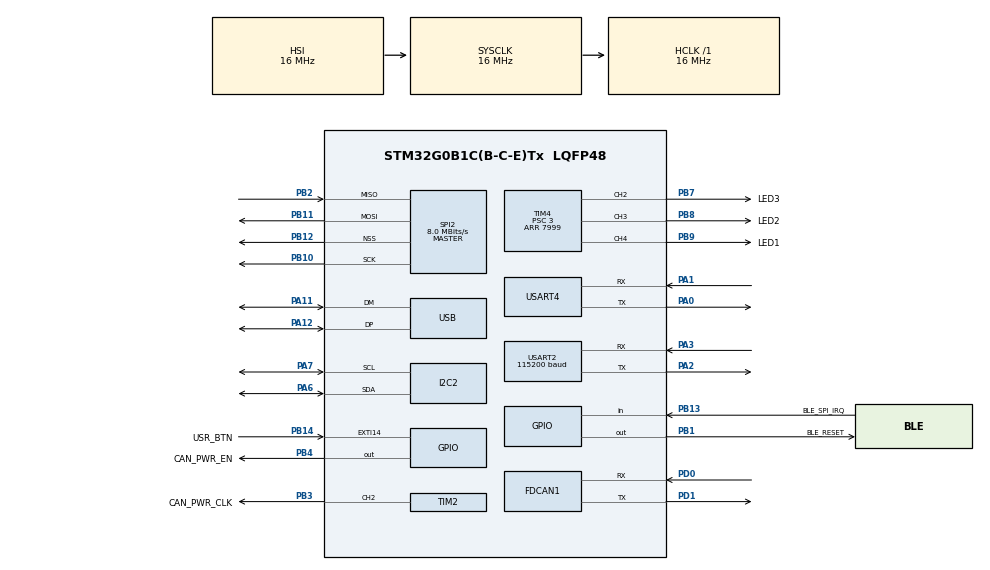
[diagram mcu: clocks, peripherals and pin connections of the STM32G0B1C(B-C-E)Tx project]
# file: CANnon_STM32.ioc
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Dma.Request0=USART2_TX
Dma.USART2_TX.0.Direction=DMA_MEMORY_TO_PERIPH
Dma.USART2_TX.0.EventEnable=DISABLE
Dma.USART2_TX.0.Instance=DMA1_Channel3
Dma.USART2_TX.0.MemDataAlignment=DMA_MDATAALIGN_BYTE
Dma.USART2_TX.0.MemInc=DMA_MINC_ENABLE
Dma.USART2_TX.0.Mode=DMA_NORMAL
Dma.USART2_TX.0.PeriphDataAlignment=DMA_PDATAALIGN_BYTE
Dma.USART2_TX.0.PeriphInc=DMA_PINC_DISABLE
Dma.USART2_TX.0.Polarity=HAL_DMAMUX_REQ_GEN_RISING
Dma.USART2_TX.0.Priority=DMA_PRIORITY_LOW
Dma.USART2_TX.0.RequestNumber=1
Dma.USART2_TX.0.SignalID=NONE
Dma.USART2_TX.0.SyncEnable=DISABLE
Dma.USART2_TX.0.SyncPolarity=HAL_DMAMUX_SYNC_NO_EVENT
Dma.USART2_TX.0.SyncRequestNumber=1
Dma.USART2_TX.0.SyncSignalID=NONE
FDCAN1.CalculateBaudRateNominal=200000
FDCAN1.CalculateTimeBitNominal=5000
FDCAN1.CalculateTimeQuantumNominal=1000.0
IWDG.Prescaler=IWDG_PRESCALER_256
IWDG.Reload=125
Mcu.Family=STM32G0
Mcu.Name=STM32G0B1C(B-C-E)Tx
Mcu.Package=LQFP48
NVIC.DMA1_Channel2_3_IRQn=true\:0\:0\:false\:false\:true\:false\:true\:true
NVIC.USART2_LPUART2_IRQn=true\:0\:0\:false\:false\:true\:true\:true\:true
NVIC.USB_UCPD1_2_IRQn=true\:0\:0\:false\:false\:true\:true\:true\:true
PA0.Mode=Asynchronous
PA0.Signal=USART4_TX
PA1.Mode=Asynchronous
PA1.Signal=USART4_RX
PA11\ [PA9].Mode=Device
PA11\ [PA9].Signal=USB_DM
PA12\ [PA10].Mode=Device
PA12\ [PA10].Signal=USB_DP
PA13.Mode=Serial_Wire
PA13.Signal=SYS_SWDIO
PA14-BOOT0.Mode=Serial_Wire
PA14-BOOT0.Signal=SYS_SWCLK
PA2.Mode=Asynchronous
PA2.Signal=USART2_TX
PA3.Mode=Asynchronous
PA3.Signal=USART2_RX
PA6.Mode=I2C
PA6.Signal=I2C2_SDA
PA7.Mode=I2C
PA7.Signal=I2C2_SCL
PB1.GPIO_Label=BLE_RESET
PB1.Signal=GPIO_Output
PB10.Mode=Full_Duplex_Master
PB10.Signal=SPI2_SCK
PB11.Mode=Full_Duplex_Master
PB11.Signal=SPI2_MOSI
PB12.Mode=NSS_Signal_Hard_Output
PB12.Signal=SPI2_NSS
PB13.GPIO_Label=BLE_SPI_IRQ
PB13.Signal=GPIO_Input
PB14.GPIO_Label=USR_BTN
PB14.Signal=GPXTI14
PB2.Mode=Full_Duplex_Master
PB2.Signal=SPI2_MISO
PB3.GPIO_Label=CAN_PWR_CLK
PB3.Signal=S_TIM2_CH2
PB4.GPIO_Label=CAN_PWR_EN
PB4.Signal=GPIO_Output
PB7.GPIO_FM7=__NULL
PB7.GPIO_Label=LED3
PB7.GPIO_ModeDefaultPP=GPIO_MODE_AF_PP
PB7.GPIO_PuPd=GPIO_NOPULL
PB7.GPIO_Speed=GPIO_SPEED_FREQ_LOW
PB7.Signal=S_TIM4_CH2
PB8.GPIO_FM8=__NULL
PB8.GPIO_Label=LED2
PB8.GPIO_ModeDefaultPP=GPIO_MODE_AF_PP
PB8.GPIO_PuPd=GPIO_NOPULL
PB8.GPIO_Speed=GPIO_SPEED_FREQ_LOW
PB8.Signal=S_TIM4_CH3
PB9.GPIO_Label=LED1
PB9.Signal=S_TIM4_CH4
PD0.Mode=FDCAN_Activate
PD0.Signal=FDCAN1_RX
PD1.Mode=FDCAN_Activate
PD1.Signal=FDCAN1_TX
ProjectManager.HeapSize=0x1000
ProjectManager.StackSize=0x400
ProjectManager.TargetToolchain=STM32CubeIDE
RCC.ADCFreq_Value=16000000
RCC.AHBFreq_Value=16000000
RCC.CortexFreq_Value=16000000
RCC.EXTERNAL_CLOCK_VALUE=48000
RCC.HCLKFreq_Value=16000000
RCC.HSE_VALUE=8000000
RCC.HSI48_VALUE=48000000
RCC.HSI_VALUE=16000000
RCC.LSE_VALUE=32768
RCC.PLLQ=RCC_PLLQ_DIV4
RCC.SYSCLKFreq_VALUE=16000000
RCC.USBFreq_Value=48000000
RCC.VCOOutputFreq_Value=128000000
SH.S_TIM2_CH2.0=TIM2_CH2,PWM Generation2 CH2
SH.S_TIM4_CH2.0=TIM4_CH2,PWM Generation2 CH2
SH.S_TIM4_CH3.0=TIM4_CH3,PWM Generation3 CH3
SH.S_TIM4_CH4.0=TIM4_CH4,PWM Generation4 CH4
SPI2.CalculateBaudRate=8.0 MBits/s
SPI2.Direction=SPI_DIRECTION_2LINES
SPI2.Mode=SPI_MODE_MASTER
SPI2.VirtualNSS=VM_NSSHARD
SPI2.VirtualType=VM_MASTER
TIM2.Channel-PWM\ Generation2\ CH2=TIM_CHANNEL_2
TIM2.Period=9
TIM2.Prescaler=3
TIM2.Pulse-PWM\ Generation2\ CH2=5
TIM4.AutoReloadPreload=TIM_AUTORELOAD_PRELOAD_ENABLE
TIM4.Channel-PWM\ Generation2\ CH2=TIM_CHANNEL_2
TIM4.Channel-PWM\ Generation3\ CH3=TIM_CHANNEL_3
TIM4.Channel-PWM\ Generation4\ CH4=TIM_CHANNEL_4
TIM4.OCPolarity_2=TIM_OCPOLARITY_LOW
TIM4.OCPolarity_3=TIM_OCPOLARITY_LOW
TIM4.OCPolarity_4=TIM_OCPOLARITY_LOW
TIM4.Period=7999
TIM4.Prescaler=3
TIM4.Pulse-PWM\ Generation2\ CH2=1
TIM4.Pulse-PWM\ Generation3\ CH3=1
TIM4.Pulse-PWM\ Generation4\ CH4=1
USART2.BaudRate=115200
USART2.VirtualMode-Asynchronous=VM_ASYNC
USART4.VirtualMode-Asynchronous=VM_ASYNC
USB_DEVICE.CLASS_NAME_FS=CDC
USB_DEVICE.USBD_DEBUG_LEVEL=3
USB_DEVICE.VirtualMode=Cdc
USB_DEVICE.VirtualModeFS=Cdc_FS
VP_IWDG_VS_IWDG.Mode=IWDG_Activate
VP_SYS_VS_DBSignals.Mode=DisableDeadBatterySignals
VP_TIM2_VS_ClockSourceINT.Mode=Internal
VP_TIM4_VS_ClockSourceINT.Mode=Internal
VP_USB_DEVICE_VS_USB_DEVICE_CDC_FS.Mode=CDC_FS
board=custom

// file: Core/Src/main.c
/* USER CODE BEGIN Header */
/**
 ******************************************************************************
 * @file           : main.c
 * @brief          : Main program body
 ******************************************************************************
 * @attention
 *
 * Copyright (c) 2025 STMicroelectronics.
 * All rights reserved.
 *
 * This software is licensed under terms that can be found in the LICENSE file
 * in the root directory of this software component.
 * If no LICENSE file comes with this software, it is provided AS-IS.
 *
 ******************************************************************************
 */
/* USER CODE END Header */
#include "main.h"
#include "usb_device.h"

/* USER CODE BEGIN Includes */
#include <usbd_cdc_if.h>
#include "cli.h"
#include "cli_defs.h"
#include "hdc2021.h" // Include the HDC2021 driver header
#include <stdio.h>
/* USER CODE END Includes */

/* USER CODE BEGIN PTD */
#define GRN_LED TIM_CHANNEL_2
#define RED_LED TIM_CHANNEL_3
#define BLU_LED TIM_CHANNEL_4

/* USER CODE END PTD */

FDCAN_HandleTypeDef hfdcan1;

I2C_HandleTypeDef hi2c2;

IWDG_HandleTypeDef hiwdg;

SPI_HandleTypeDef hspi2;

TIM_HandleTypeDef htim2;
TIM_HandleTypeDef htim4;

UART_HandleTypeDef huart2;
UART_HandleTypeDef huart4;
DMA_HandleTypeDef hdma_usart2_tx;

/* USER CODE BEGIN PV */
uint16_t LED_duty = 1;
uint8_t LED_direction = 1;
uint8_t connection_message_sent = 0;
uint8_t button_pushed = 0;
extern volatile uint8_t CDC_Connection_Open_Flag; // Declare the flag as external

float temperature = 0.0f;
float humidity = 0.0f;
/* USER CODE END PV */

void SystemClock_Config(void);
static void MX_GPIO_Init(void);
static void MX_DMA_Init(void);
static void MX_FDCAN1_Init(void);
static void MX_I2C2_Init(void);
static void MX_USART2_UART_Init(void);
static void MX_TIM2_Init(void);
static void MX_SPI2_Init(void);
static void MX_TIM4_Init(void);
static void MX_USART4_UART_Init(void);
static void MX_IWDG_Init(void);
/* USER CODE BEGIN PFP */
void cli_println(char *string);
void Read_Temp_Humid(void);

cli_status_t help_func(int argc, char **argv);
cli_status_t can_pwr_func(int argc, char **argv);
cli_status_t temp(int argc, char **argv);

/* USER CODE END PFP */

/* USER CODE BEGIN 0 */

cli_t cli;	//creates instance of the cli function?

//table of commands and respective funtions
cmd_t cmd_tbl[3] =
{
{ .cmd = "help", .func = help_func },
{ .cmd = "can_power", .func = can_pwr_func },
{ .cmd = "temp", .func = temp } };

cli_status_t help_func(int argc, char **argv)
{
	cli.println("-- HAL CLI Commands -- \r\n");
	cli.println("help \r\n");
	cli.println("can_power [ 1 | 0 | -help ] \r\n");
	cli.println("temp [ -read | -help ] \r\n");
	return CLI_OK;
}

cli_status_t can_pwr_func(int argc, char **argv)
{
	if (argc > 0)
	{
		if (strcmp(argv[1], "-help") == 0)
		{
			cli.println("-- CAN Power help menu --\r\n");
			cli.println("can_power 1	//Enable CAN isolated PSU \r\n");
			cli.println("can_power 0	//Disabled CAN isolated PSU \r\n");
		}
		else if (strcmp(argv[1], "1") == 0)
		{
			cli.println("CAN power on \r\n");
			HAL_GPIO_WritePin(CAN_PWR_EN_GPIO_Port, CAN_PWR_EN_Pin,
					GPIO_PIN_SET);
		}
		else if (strcmp(argv[1], "0") == 0)
		{
			cli.println("CAN power off \r\n");
			HAL_GPIO_WritePin(CAN_PWR_EN_GPIO_Port, CAN_PWR_EN_Pin,
					GPIO_PIN_RESET);
		}
		else
		{
			cli.println("can_power invalid argument \r\n");
			return CLI_E_INVALID_ARGS;
		}
	}

	return CLI_OK;
}

cli_status_t temp(int argc, char **argv)
{
	if (argc > 0)
	{
		if (strcmp(argv[1], "-help") == 0)
		{
			cli.println("-- Temperature Sensor help menu --\r\n");
			cli.println(
					"temp -read	//Print Temperature (C) and Humidity (%) on CLI \r\n");
		}
		else if (strcmp(argv[1], "-read") == 0)
		{
			Read_Temp_Humid();
		}
		else
		{
			cli.println("temp invalid argument \r\n");
			return CLI_E_INVALID_ARGS;
		}
	}
	return CLI_OK;
}

void cli_println(char *string)
{
	CDC_Transmit_FS((uint8_t*) string, strlen(string)); //transmit CLI messages on USB CDC interface
	HAL_Delay(1); //debug only, small delay to test sequential transmissions
}

void cli_rx(char c)
{
	cli_put(&cli, c);
}

void breathe_LED(void)
{
	if (LED_direction == 1) //counting up
	{
		LED_duty++;
	}
	else if (LED_direction == 0) //counting down
	{
		LED_duty--;
	}

	if (LED_duty == 2000)	//
	{
		LED_direction = 0;
	}
	else if (LED_duty == 100)
	{
		LED_direction = 1;
	}
	__HAL_TIM_SET_COMPARE(&htim4, GRN_LED, LED_duty);
	__HAL_TIM_SET_COMPARE(&htim4, RED_LED, LED_duty);
	__HAL_TIM_SET_COMPARE(&htim4, BLU_LED, LED_duty);
}

void HAL_GPIO_EXTI_Falling_Callback(uint16_t GPIO_Pin)
{
	if (GPIO_Pin == USR_BTN_Pin)
	{
		button_pushed = 1;
	}
}

void Read_Temp_Humid(void)
{
	HDC2021_TriggerMeasurement(&hi2c2);
	temperature = HDC2021_ReadTemperature(&hi2c2);
	humidity = HDC2021_ReadHumidity(&hi2c2);

	char msg[30];
	sprintf(msg, "T: %.2fC, H: %.2f%%\r\n", temperature, humidity);
	cli.println(msg);
}
/* USER CODE END 0 */

int main(void)
{

	/* MCU Configuration--------------------------------------------------------*/

	/* Reset of all peripherals, Initializes the Flash interface and the Systick. */
	HAL_Init();

	/* Configure the system clock */
	SystemClock_Config();

	/* Initialize all configured peripherals */
	MX_GPIO_Init();
	MX_DMA_Init();
	MX_FDCAN1_Init();
	MX_I2C2_Init();
	MX_USART2_UART_Init();
	MX_TIM2_Init();
	MX_SPI2_Init();
	MX_TIM4_Init();
	MX_USART4_UART_Init();
	MX_USB_Device_Init();
	MX_IWDG_Init();
	/* USER CODE BEGIN 2 */

	HAL_TIM_PWM_Start(&htim4, GRN_LED);	// Green LED
	//HAL_TIM_PWM_Start(&htim4, BLU_LED);	// Blue LED

	cli.println = cli_println;	//define function used for cli.println
	cli.cmd_tbl = cmd_tbl;				//define name of array used for cmd_tbl
	cli.cmd_cnt = sizeof(cmd_tbl) / sizeof(cmd_t);	//define number of commands

	HDC2021_Init(&hi2c2, HDC2021_RESOLUTION_14BIT, HDC2021_RESOLUTION_14BIT,
			HDC2021_RATE_OFF);

	/* USER CODE END 2 */

	/* Infinite loop */
	/* USER CODE BEGIN WHILE */

	while (1)
	{
		HAL_IWDG_Refresh(&hiwdg);

		if (CDC_Connection_Open_Flag == 1)	//only init cli if USB CDC is open
		{
			if (!connection_message_sent)
			{
				cli_init(&cli);	//initialize cli
				connection_message_sent = 1; // Mark message as sent
				HAL_TIM_PWM_Start(&htim4, RED_LED);	// Red LED
				HAL_TIM_PWM_Stop(&htim4, GRN_LED);
			}

			if (button_pushed == 1)
			{
				Read_Temp_Humid();
				button_pushed = 0;
			}

			cli_process(&cli);//periodically call to process incoming characters
		}
		else if (CDC_Connection_Open_Flag == 0)
		{
			cli_deinit(&cli);
			HAL_TIM_PWM_Stop(&htim4, RED_LED);	// Red LED
			HAL_TIM_PWM_Start(&htim4, GRN_LED);	// Red LED
		}
		/* USER CODE END WHILE */

	}
}

void SystemClock_Config(void)
{
	RCC_OscInitTypeDef RCC_OscInitStruct =
	{ 0 };
	RCC_ClkInitTypeDef RCC_ClkInitStruct =
	{ 0 };

	/** Configure the main internal regulator output voltage
	 */
	HAL_PWREx_ControlVoltageScaling(PWR_REGULATOR_VOLTAGE_SCALE1);

	/** Initializes the RCC Oscillators according to the specified parameters
	 * in the RCC_OscInitTypeDef structure.
	 */
	RCC_OscInitStruct.OscillatorType = RCC_OSCILLATORTYPE_HSI
			| RCC_OSCILLATORTYPE_LSI | RCC_OSCILLATORTYPE_HSI48;
	RCC_OscInitStruct.HSIState = RCC_HSI_ON;
	RCC_OscInitStruct.HSI48State = RCC_HSI48_ON;
	RCC_OscInitStruct.HSIDiv = RCC_HSI_DIV1;
	RCC_OscInitStruct.HSICalibrationValue = RCC_HSICALIBRATION_DEFAULT;
	RCC_OscInitStruct.LSIState = RCC_LSI_ON;
	RCC_OscInitStruct.PLL.PLLState = RCC_PLL_NONE;
	if (HAL_RCC_OscConfig(&RCC_OscInitStruct) != HAL_OK)
	{
		Error_Handler();
	}

	/** Initializes the CPU, AHB and APB buses clocks
	 */
	RCC_ClkInitStruct.ClockType = RCC_CLOCKTYPE_HCLK | RCC_CLOCKTYPE_SYSCLK
			| RCC_CLOCKTYPE_PCLK1;
	RCC_ClkInitStruct.SYSCLKSource = RCC_SYSCLKSOURCE_HSI;
	RCC_ClkInitStruct.AHBCLKDivider = RCC_SYSCLK_DIV1;
	RCC_ClkInitStruct.APB1CLKDivider = RCC_HCLK_DIV1;

	if (HAL_RCC_ClockConfig(&RCC_ClkInitStruct, FLASH_LATENCY_0) != HAL_OK)
	{
		Error_Handler();
	}
}

static void MX_FDCAN1_Init(void)
{

	hfdcan1.Instance = FDCAN1;
	hfdcan1.Init.ClockDivider = FDCAN_CLOCK_DIV1;
	hfdcan1.Init.FrameFormat = FDCAN_FRAME_CLASSIC;
	hfdcan1.Init.Mode = FDCAN_MODE_NORMAL;
	hfdcan1.Init.AutoRetransmission = DISABLE;
	hfdcan1.Init.TransmitPause = DISABLE;
	hfdcan1.Init.ProtocolException = DISABLE;
	hfdcan1.Init.NominalPrescaler = 16;
	hfdcan1.Init.NominalSyncJumpWidth = 1;
	hfdcan1.Init.NominalTimeSeg1 = 2;
	hfdcan1.Init.NominalTimeSeg2 = 2;
	hfdcan1.Init.DataPrescaler = 1;
	hfdcan1.Init.DataSyncJumpWidth = 1;
	hfdcan1.Init.DataTimeSeg1 = 1;
	hfdcan1.Init.DataTimeSeg2 = 1;
	hfdcan1.Init.StdFiltersNbr = 0;
	hfdcan1.Init.ExtFiltersNbr = 0;
	hfdcan1.Init.TxFifoQueueMode = FDCAN_TX_FIFO_OPERATION;
	if (HAL_FDCAN_Init(&hfdcan1) != HAL_OK)
	{
		Error_Handler();
	}

}

static void MX_I2C2_Init(void)
{

	hi2c2.Instance = I2C2;
	hi2c2.Init.Timing = 0x00303D5B;
	hi2c2.Init.OwnAddress1 = 0;
	hi2c2.Init.AddressingMode = I2C_ADDRESSINGMODE_7BIT;
	hi2c2.Init.DualAddressMode = I2C_DUALADDRESS_DISABLE;
	hi2c2.Init.OwnAddress2 = 0;
	hi2c2.Init.OwnAddress2Masks = I2C_OA2_NOMASK;
	hi2c2.Init.GeneralCallMode = I2C_GENERALCALL_DISABLE;
	hi2c2.Init.NoStretchMode = I2C_NOSTRETCH_DISABLE;
	if (HAL_I2C_Init(&hi2c2) != HAL_OK)
	{
		Error_Handler();
	}

	/** Configure Analogue filter
	 */
	if (HAL_I2CEx_ConfigAnalogFilter(&hi2c2, I2C_ANALOGFILTER_ENABLE) != HAL_OK)
	{
		Error_Handler();
	}

	/** Configure Digital filter
	 */
	if (HAL_I2CEx_ConfigDigitalFilter(&hi2c2, 0) != HAL_OK)
	{
		Error_Handler();
	}

}

static void MX_IWDG_Init(void)
{

	hiwdg.Instance = IWDG;
	hiwdg.Init.Prescaler = IWDG_PRESCALER_4;
	hiwdg.Init.Window = 4095;
	hiwdg.Init.Reload = 4095;
	if (HAL_IWDG_Init(&hiwdg) != HAL_OK)
	{
		Error_Handler();
	}

}

static void MX_SPI2_Init(void)
{

	/* SPI2 parameter configuration*/
	hspi2.Instance = SPI2;
	hspi2.Init.Mode = SPI_MODE_MASTER;
	hspi2.Init.Direction = SPI_DIRECTION_2LINES;
	hspi2.Init.DataSize = SPI_DATASIZE_8BIT;
	hspi2.Init.CLKPolarity = SPI_POLARITY_LOW;
	hspi2.Init.CLKPhase = SPI_PHASE_1EDGE;
	hspi2.Init.NSS = SPI_NSS_HARD_OUTPUT;
	hspi2.Init.BaudRatePrescaler = SPI_BAUDRATEPRESCALER_2;
	hspi2.Init.FirstBit = SPI_FIRSTBIT_MSB;
	hspi2.Init.TIMode = SPI_TIMODE_DISABLE;
	hspi2.Init.CRCCalculation = SPI_CRCCALCULATION_DISABLE;
	hspi2.Init.CRCPolynomial = 7;
	hspi2.Init.CRCLength = SPI_CRC_LENGTH_DATASIZE;
	hspi2.Init.NSSPMode = SPI_NSS_PULSE_ENABLE;
	if (HAL_SPI_Init(&hspi2) != HAL_OK)
	{
		Error_Handler();
	}

}

static void MX_TIM2_Init(void)
{

	TIM_ClockConfigTypeDef sClockSourceConfig =
	{ 0 };
	TIM_MasterConfigTypeDef sMasterConfig =
	{ 0 };
	TIM_OC_InitTypeDef sConfigOC =
	{ 0 };

	htim2.Instance = TIM2;
	htim2.Init.Prescaler = 3;
	htim2.Init.CounterMode = TIM_COUNTERMODE_UP;
	htim2.Init.Period = 9;
	htim2.Init.ClockDivision = TIM_CLOCKDIVISION_DIV1;
	htim2.Init.AutoReloadPreload = TIM_AUTORELOAD_PRELOAD_DISABLE;
	if (HAL_TIM_Base_Init(&htim2) != HAL_OK)
	{
		Error_Handler();
	}
	sClockSourceConfig.ClockSource = TIM_CLOCKSOURCE_INTERNAL;
	if (HAL_TIM_ConfigClockSource(&htim2, &sClockSourceConfig) != HAL_OK)
	{
		Error_Handler();
	}
	if (HAL_TIM_PWM_Init(&htim2) != HAL_OK)
	{
		Error_Handler();
	}
	sMasterConfig.MasterOutputTrigger = TIM_TRGO_RESET;
	sMasterConfig.MasterSlaveMode = TIM_MASTERSLAVEMODE_DISABLE;
	if (HAL_TIMEx_MasterConfigSynchronization(&htim2, &sMasterConfig) != HAL_OK)
	{
		Error_Handler();
	}
	sConfigOC.OCMode = TIM_OCMODE_PWM1;
	sConfigOC.Pulse = 5;
	sConfigOC.OCPolarity = TIM_OCPOLARITY_HIGH;
	sConfigOC.OCFastMode = TIM_OCFAST_DISABLE;
	if (HAL_TIM_PWM_ConfigChannel(&htim2, &sConfigOC, TIM_CHANNEL_2) != HAL_OK)
	{
		Error_Handler();
	}
	HAL_TIM_MspPostInit(&htim2);

}

static void MX_TIM4_Init(void)
{

	TIM_ClockConfigTypeDef sClockSourceConfig =
	{ 0 };
	TIM_MasterConfigTypeDef sMasterConfig =
	{ 0 };
	TIM_OC_InitTypeDef sConfigOC =
	{ 0 };

	htim4.Instance = TIM4;
	htim4.Init.Prescaler = 3;
	htim4.Init.CounterMode = TIM_COUNTERMODE_UP;
	htim4.Init.Period = 7999;
	htim4.Init.ClockDivision = TIM_CLOCKDIVISION_DIV1;
	htim4.Init.AutoReloadPreload = TIM_AUTORELOAD_PRELOAD_ENABLE;
	if (HAL_TIM_Base_Init(&htim4) != HAL_OK)
	{
		Error_Handler();
	}
	sClockSourceConfig.ClockSource = TIM_CLOCKSOURCE_INTERNAL;
	if (HAL_TIM_ConfigClockSource(&htim4, &sClockSourceConfig) != HAL_OK)
	{
		Error_Handler();
	}
	if (HAL_TIM_PWM_Init(&htim4) != HAL_OK)
	{
		Error_Handler();
	}
	sMasterConfig.MasterOutputTrigger = TIM_TRGO_RESET;
	sMasterConfig.MasterSlaveMode = TIM_MASTERSLAVEMODE_DISABLE;
	if (HAL_TIMEx_MasterConfigSynchronization(&htim4, &sMasterConfig) != HAL_OK)
	{
		Error_Handler();
	}
	sConfigOC.OCMode = TIM_OCMODE_PWM1;
	sConfigOC.Pulse = 1;
	sConfigOC.OCPolarity = TIM_OCPOLARITY_LOW;
	sConfigOC.OCFastMode = TIM_OCFAST_DISABLE;
	if (HAL_TIM_PWM_ConfigChannel(&htim4, &sConfigOC, TIM_CHANNEL_2) != HAL_OK)
	{
		Error_Handler();
	}
	if (HAL_TIM_PWM_ConfigChannel(&htim4, &sConfigOC, TIM_CHANNEL_3) != HAL_OK)
	{
		Error_Handler();
	}
	if (HAL_TIM_PWM_ConfigChannel(&htim4, &sConfigOC, TIM_CHANNEL_4) != HAL_OK)
	{
		Error_Handler();
	}
	HAL_TIM_MspPostInit(&htim4);

}

static void MX_USART2_UART_Init(void)
{

	huart2.Instance = USART2;
	huart2.Init.BaudRate = 115200;
	huart2.Init.WordLength = UART_WORDLENGTH_8B;
	huart2.Init.StopBits = UART_STOPBITS_1;
	huart2.Init.Parity = UART_PARITY_NONE;
	huart2.Init.Mode = UART_MODE_TX_RX;
	huart2.Init.HwFlowCtl = UART_HWCONTROL_NONE;
	huart2.Init.OverSampling = UART_OVERSAMPLING_16;
	huart2.Init.OneBitSampling = UART_ONE_BIT_SAMPLE_DISABLE;
	huart2.Init.ClockPrescaler = UART_PRESCALER_DIV1;
	huart2.AdvancedInit.AdvFeatureInit = UART_ADVFEATURE_NO_INIT;
	if (HAL_UART_Init(&huart2) != HAL_OK)
	{
		Error_Handler();
	}
	if (HAL_UARTEx_SetTxFifoThreshold(&huart2, UART_TXFIFO_THRESHOLD_1_8)
			!= HAL_OK)
	{
		Error_Handler();
	}
	if (HAL_UARTEx_SetRxFifoThreshold(&huart2, UART_RXFIFO_THRESHOLD_1_8)
			!= HAL_OK)
	{
		Error_Handler();
	}
	if (HAL_UARTEx_DisableFifoMode(&huart2) != HAL_OK)
	{
		Error_Handler();
	}

}

static void MX_USART4_UART_Init(void)
{

	huart4.Instance = USART4;
	huart4.Init.BaudRate = 115200;
	huart4.Init.WordLength = UART_WORDLENGTH_8B;
	huart4.Init.StopBits = UART_STOPBITS_1;
	huart4.Init.Parity = UART_PARITY_NONE;
	huart4.Init.Mode = UART_MODE_TX_RX;
	huart4.Init.HwFlowCtl = UART_HWCONTROL_NONE;
	huart4.Init.OverSampling = UART_OVERSAMPLING_16;
	huart4.Init.OneBitSampling = UART_ONE_BIT_SAMPLE_DISABLE;
	huart4.Init.ClockPrescaler = UART_PRESCALER_DIV1;
	huart4.AdvancedInit.AdvFeatureInit = UART_ADVFEATURE_NO_INIT;
	if (HAL_UART_Init(&huart4) != HAL_OK)
	{
		Error_Handler();
	}

}

static void MX_DMA_Init(void)
{

	/* DMA controller clock enable */
	__HAL_RCC_DMA1_CLK_ENABLE();

	/* DMA interrupt init */
	/* DMA1_Channel2_3_IRQn interrupt configuration */
	HAL_NVIC_SetPriority(DMA1_Channel2_3_IRQn, 0, 0);
	HAL_NVIC_EnableIRQ(DMA1_Channel2_3_IRQn);

}

static void MX_GPIO_Init(void)
{
	GPIO_InitTypeDef GPIO_InitStruct =
	{ 0 };

	/* GPIO Ports Clock Enable */
	__HAL_RCC_GPIOA_CLK_ENABLE();
	__HAL_RCC_GPIOB_CLK_ENABLE();
	__HAL_RCC_GPIOD_CLK_ENABLE();

	/*Configure GPIO pin Output Level */
	HAL_GPIO_WritePin(GPIOB, BLE_RESET_Pin | CAN_PWR_EN_Pin, GPIO_PIN_RESET);

	/*Configure GPIO pins : BLE_RESET_Pin CAN_PWR_EN_Pin */
	GPIO_InitStruct.Pin = BLE_RESET_Pin | CAN_PWR_EN_Pin;
	GPIO_InitStruct.Mode = GPIO_MODE_OUTPUT_PP;
	GPIO_InitStruct.Pull = GPIO_NOPULL;
	GPIO_InitStruct.Speed = GPIO_SPEED_FREQ_LOW;
	HAL_GPIO_Init(GPIOB, &GPIO_InitStruct);

	/*Configure GPIO pin : BLE_SPI_IRQ_Pin */
	GPIO_InitStruct.Pin = BLE_SPI_IRQ_Pin;
	GPIO_InitStruct.Mode = GPIO_MODE_INPUT;
	GPIO_InitStruct.Pull = GPIO_NOPULL;
	HAL_GPIO_Init(BLE_SPI_IRQ_GPIO_Port, &GPIO_InitStruct);

	/*Configure GPIO pin : USR_BTN_Pin */
	GPIO_InitStruct.Pin = USR_BTN_Pin;
	GPIO_InitStruct.Mode = GPIO_MODE_IT_FALLING;
	GPIO_InitStruct.Pull = GPIO_NOPULL;
	HAL_GPIO_Init(USR_BTN_GPIO_Port, &GPIO_InitStruct);

	/* EXTI interrupt init*/
	HAL_NVIC_SetPriority(EXTI4_15_IRQn, 0, 0);
	HAL_NVIC_EnableIRQ(EXTI4_15_IRQn);

}

void Error_Handler(void)
{
	__disable_irq();
	while (1)
	{
	}
}
